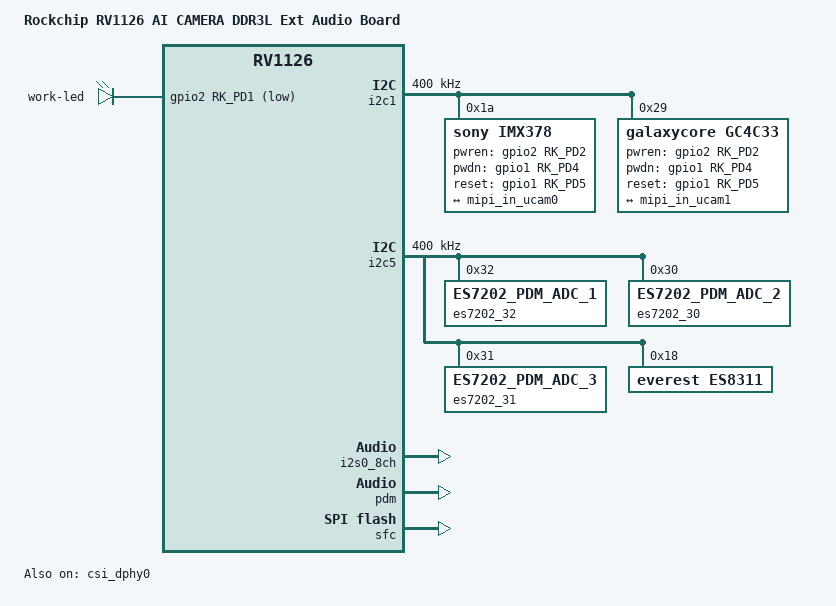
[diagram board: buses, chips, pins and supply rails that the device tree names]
// SPDX-License-Identifier: (GPL-2.0+ OR MIT)
/*
 * Copyright (c) 2019 Fuzhou Rockchip Electronics Co., Ltd.
 */

/dts-v1/;
#include "rv1126.dtsi"
#include "rv1126-ai-cam-audio.dtsi"

/ {
	model = "Rockchip RV1126 AI CAMERA DDR3L Ext Audio Board";
	compatible = "rockchip,rv1126-ai-cam-audio-ddr3L-v1-spi-nand", "rockchip,rv1126";

	chosen {
                bootargs = "earlycon=uart8250,mmio32,0xff570000 console=ttyFIQ0 ubi.mtd=3 root=ubi0:rootfs rootfstype=ubifs snd_aloop.index=7";
	};

	gpio-leds {
		compatible = "gpio-leds";

		work-led {
			gpios = <&gpio2 RK_PD1 GPIO_ACTIVE_LOW>;
			linux,default-trigger = "timer";
		};
	};

	ip_dais: ip-dais {
		status = "okay";
		compatible = "rockchip,rv1126-multi-dais", "rockchip,multi-dais";
		#sound-dai-cells = <0>;
		dais = <&i2s0_8ch>, <&pdm>;
		capture,channel-mapping = <2 6>;
		playback,channel-mapping = <2 0>;
	};

/*	es7202_sound: es7202-sound {
		status = "okay";
		compatible = "simple-audio-card";
		simple-audio-card,format = "pdm";
		simple-audio-card,name = "rockchip,es7202";
		simple-audio-card,cpu {
			sound-dai = <&pdm>;
		};
		simple-audio-card,codec {
			sound-dai = <&es7202_31>;
		};
	};

	es8311_sound: es8311-sound {
		status = "okay";
		compatible = "simple-audio-card";
		simple-audio-card,format = "i2s";
		simple-audio-card,name = "rockchip,es8311";
		simple-audio-card,mclk-fs = <256>;
		simple-audio-card,cpu {
			sound-dai = <&i2s0_8ch>;
		};
		simple-audio-card,codec {
			sound-dai = <&es8311>;
		};
	};*/
/*
	ip_sound: ip-sound {
		status = "disabled";
		compatible = "simple-audio-card";
		simple-audio-card,format = "i2s";
		simple-audio-card,name = "rockchip,ip_sound";
		simple-audio-card,mclk-fs = <256>;
		simple-audio-card,cpu {
			sound-dai = <&ip_dais>;
		};
		simple-audio-card,codec {
			sound-dai = <&es8311>;
		};
	};*/
/*
	ip_sound: ip-sound {
		status = "okay";
		compatible = "simple-audio-card";
		simple-audio-card,format = "i2s";
		simple-audio-card,name = "rockchip,7202_8311";
		simple-audio-card,mclk-fs = <256>;
		simple-audio-card,dai-link@0 {
			format = "i2s";
			cpu {
				sound-dai = <&i2s0_8ch>;
			};
			codec {
				sound-dai = <&es8311>;
			};
		};
		simple-audio-card,dai-link@1 {
			format = "pdm";
			cpu {
				sound-dai = <&pdm>;
			};
			codec {
				sound-dai = <&es7202>;
			};
		};
	};
*/
	multi_codec_sound: multi-codec-sound {
		status = "okay";
		compatible = "rockchip,multicodecs-card";
		rockchip,card-name = "rockchip,multi,7202_8311";
		rockchip,codec-hp-det;
		rockchip,mclk-fs = <256>;
		rockchip,cpu = <&ip_dais>;
		rockchip,codec = <&es8311>, <&es7202_31>;
	};
};

&csi_dphy0 {
	status = "okay";

	ports {
		port@0 {
			reg = <0>;
			#address-cells = <1>;
			#size-cells = <0>;

			mipi_in_ucam0: endpoint@0 {
				reg = <1>;
				remote-endpoint = <&ucam_out0>;
				data-lanes = <1 2 3 4>;
			};

			mipi_in_ucam1: endpoint@1 {
				reg = <1>;
				remote-endpoint = <&ucam_out1>;
				data-lanes = <1 2>;
			};
		};
	};
};

&i2c1 {
	status = "okay";
	clock-frequency = <400000>;

	imx378: imx378@1a {
		compatible = "sony,imx378";
		reg = <0x1a>;
		clocks = <&cru CLK_MIPICSI_OUT>;
		clock-names = "xvclk";
		power-domains = <&power RV1126_PD_VI>;
		pinctrl-names = "default";
		pinctrl-0 = <&mipicsi_clk0>;
		pwren-gpios= <&gpio2 RK_PD2 GPIO_ACTIVE_HIGH>;
		pwdn-gpios = <&gpio1 RK_PD4 GPIO_ACTIVE_HIGH>;
		reset-gpios = <&gpio1 RK_PD5 GPIO_ACTIVE_HIGH>;
		rockchip,camera-module-index = <1>;
		rockchip,camera-module-facing = "front";
		rockchip,camera-module-name = "A12N01B";
		rockchip,camera-module-lens-name = "48IRC-12M-F18";
		// NO_HDR:0 HDR_X2:5 HDR_X3:6
		rockchip,camera-hdr-mode = <0>;
		port {
			ucam_out0: endpoint {
				remote-endpoint = <&mipi_in_ucam0>;
				data-lanes = <1 2 3 4>;
			};
		};
	};

	gc4c33: gc4c33@29 {
		compatible = "galaxycore,gc4c33";
		reg = <0x29>;
		clocks = <&cru CLK_MIPICSI_OUT>;
		clock-names = "xvclk";
		power-domains = <&power RV1126_PD_VI>;
		pinctrl-names = "rockchip,camera_default";
		pinctrl-0 = <&mipicsi_clk0>;
		pwren-gpios= <&gpio2 RK_PD2 GPIO_ACTIVE_HIGH>;
		pwdn-gpios = <&gpio1 RK_PD4 GPIO_ACTIVE_HIGH>;
		reset-gpios = <&gpio1 RK_PD5 GPIO_ACTIVE_HIGH>;
		rockchip,camera-module-index = <1>;
		rockchip,camera-module-facing = "front";
		rockchip,camera-module-name = "PCORW0009A";
		rockchip,camera-module-lens-name = "40IRC-4M";
		// NO_HDR:0 HDR_X2:5 HDR_X3:6
		rockchip,camera-hdr-mode = <0>;
		port {
			ucam_out1: endpoint {
				remote-endpoint = <&mipi_in_ucam1>;
				data-lanes = <1 2>;
			};
		};
	};

};

&i2c5 {
	status = "okay";
	clock-frequency = <400000>;
	pinctrl-0 = <&i2c5m0_xfer>;

	es7202_32: es7202@32 {
		status = "okay";
		#sound-dai-cells = <0>;
		compatible = "ES7202_PDM_ADC_1";
		reg = <0x32>;
	};

	es7202_30: es7202@30 {
		status = "okay";
		#sound-dai-cells = <0>;
		compatible = "ES7202_PDM_ADC_2";
		reg = <0x30>;
	};

	es7202_31: es7202@31 {
		status = "okay";
		#sound-dai-cells = <0>;
		compatible = "ES7202_PDM_ADC_3";
		reg = <0x31>;
	};

	es8311: es8311@18 {
		compatible = "everest,es8311";
		reg = <0x18>;
		clocks = <&cru MCLK_I2S0_TX_OUT2IO>;
		clock-names = "mclk";
		adc-pga-gain = <6>;  /* 18dB */
		adc-volume = <0xbf>;  /* 0dB */
		dac-volume = <0xbf>;  /* 0dB */
		aec-mode = "adc left, adc right";
		pinctrl-names = "default";
		pinctrl-0 = <&i2s0m0_mclk>;
		#spk-ctl-gpios = <&gpio0 RK_PC0 GPIO_ACTIVE_HIGH>;
		assigned-clocks = <&cru MCLK_I2S0_TX_OUT2IO>;
		assigned-clock-parents = <&cru MCLK_I2S0_TX>;
		#sound-dai-cells = <0>;
	};
};

&i2s0_8ch {
	status = "okay";
	#sound-dai-cells = <0>;
	rockchip,clk-trcm = <1>;
	rockchip,i2s-rx-route = <0 1 2 3>;
	rockchip,no-dmaengine;
	pinctrl-names = "default";
	pinctrl-0 = <&i2s0m0_sclk_tx
				&i2s0m0_lrck_tx
				&i2s0m0_sdo0
				&i2s0m0_sdi0>;
};

&pdm {
	status = "okay";
	#sound-dai-cells = <0>;
	rockchip,no-dmaengine;
	rockchip,path-map = <1 2 3 0>;
	pinctrl-names = "default";
	pinctrl-0 = <&pdmm0_clk1
	             &pdmm0_clk
	             &pdmm0_sdi1
				 &pdmm0_sdi2
                 &pdmm0_sdi3>;
};

&pinctrl {
        es8311 {
                spk_ctl: spk-ctl {
                        rockchip,pins = <0 RK_PC0 0 &pcfg_pull_none>;
                };
        };
};

&sfc {
	status = "okay";
};

